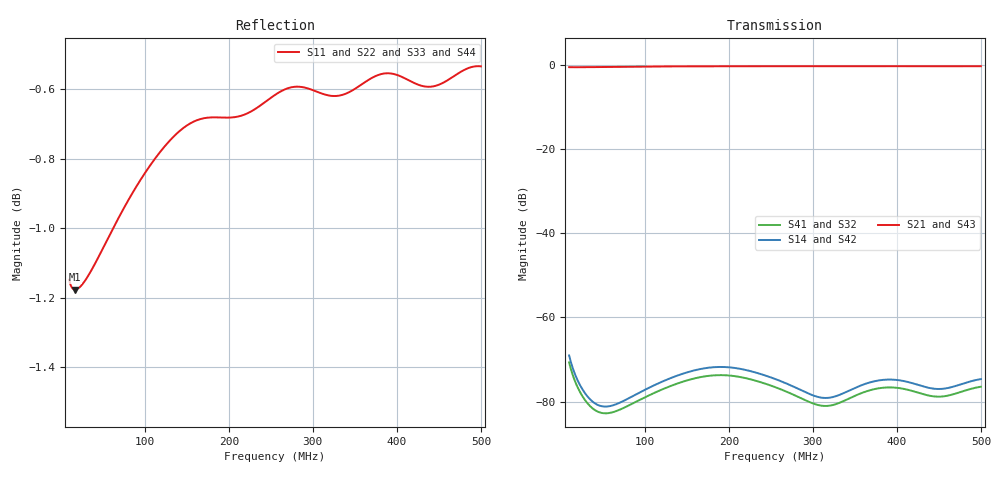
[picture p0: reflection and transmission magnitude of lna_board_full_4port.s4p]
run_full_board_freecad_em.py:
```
import sys, os, time, shutil
import numpy as np

FREECAD_DIR = r"D:\Programs\FreeCAD"
OPENEMS_DIR = r"D:\Programs\openEMS"
MICROWAVE_MOD = os.path.join(FREECAD_DIR, "Mod", "Microwave")

os.environ["MICROWAVE_OPENEMS_PYTHON"] = os.path.join(FREECAD_DIR, "bin", "python.exe")
os.environ["OPENEMS_INSTALL_PATH"] = OPENEMS_DIR

for p in [FREECAD_DIR, os.path.join(FREECAD_DIR, "bin"), MICROWAVE_MOD]:
    if p not in sys.path:
        sys.path.insert(0, p)

if hasattr(os, "add_dll_directory") and os.path.isdir(OPENEMS_DIR):
    try:
        os.add_dll_directory(OPENEMS_DIR)
    except Exception:
        pass

from Microwave.Solvers.openems import preflight, read, run, write
from Microwave.Solvers.openems.materials import VACUUM_PERMITTIVITY
from Microwave.Solvers.openems.mesh import MeshParams
from Microwave.Solvers.openems.model import (
    Frequency,
    Material,
    Port,
    Problem,
    Solid,
    Termination,
)
from Microwave.Results.sparameters import SParameters
import skrf as rf

print("=" * 70)
print("  98 MHz FM LNA - Full-Board 4-Port EM Simulation via freecad-microwave")
print("=" * 70)

t_start = time.time()

# Dimensions
length = 46.0
sub_width = 30.0
height = 1.6
w_trace = 1.5
gap = 0.35
via_y = 2.5
gnd_edge = w_trace / 2.0 + gap
half_l = length / 2.0
half_w = sub_width / 2.0

freq_min = 10e6
freq_max = 500e6
f_centre = (freq_min + freq_max) / 2.0
kappa = 2.0 * np.pi * f_centre * VACUUM_PERMITTIVITY * 4.5 * 0.02

materials = (
    Material(name="FR4", kind="lossy_dielectric", epsilon=4.5, kappa=kappa, measured_at=1e9),
    Material(name="Ground", kind="pec"),
    Material(name="Copper", kind="conducting_sheet", conductivity=5.8e7, thickness=0.035),
)

solids = [
    # FR-4 Substrate
    Solid(material="FR4", lower=(-half_l, -half_w, 0.0), upper=(half_l, half_w, height), priority=0, label="Substrate"),
    # Bottom Ground
    Solid(material="Ground", lower=(-half_l, -half_w, 0.0), upper=(half_l, half_w, 0.0), priority=1, label="BottomGround"),
    # Top Coplanar Grounds
    Solid(material="Ground", lower=(-half_l, gnd_edge, height), upper=(half_l, half_w, height), priority=2, label="TopGroundNorth"),
    Solid(material="Ground", lower=(-half_l, -half_w, height), upper=(half_l, -gnd_edge, height), priority=2, label="TopGroundSouth"),
    # Ground Stitching Via Fences
    Solid(material="Ground", lower=(-half_l, via_y - 0.3, 0.0), upper=(half_l, via_y + 0.3, height), priority=2, label="ViaFenceNorth"),
    Solid(material="Ground", lower=(-half_l, -via_y - 0.3, 0.0), upper=(half_l, -via_y + 0.3, height), priority=2, label="ViaFenceSouth"),
    # Outer Boundary Ground Walls
    Solid(material="Ground", lower=(-half_l, half_w - 0.5, 0.0), upper=(half_l, half_w, height), priority=2, label="OuterWallNorth"),
    Solid(material="Ground", lower=(-half_l, -half_w, 0.0), upper=(half_l, -half_w + 0.5, height), priority=2, label="OuterWallSouth"),
    # Input RF Trace: SMA In (-23.0) to Input Match Pad (-14.5)
    Solid(material="Copper", lower=(-half_l, -w_trace / 2.0, height), upper=(-14.5, w_trace / 2.0, height), priority=2, label="InputTrace"),
    # Output RF Trace: Output Match Pad (+2.5) to SMA Out (+23.0)
    Solid(material="Copper", lower=(2.5, -w_trace / 2.0, height), upper=(half_l, w_trace / 2.0, height), priority=2, label="OutputTrace"),
]

def make_ports(excited_port):
    return (
        Port(number=1, kind="lumped", start=(-half_l, -w_trace / 2.0, height), stop=(-half_l + 0.5, w_trace / 2.0, 0.0),
             propagation_axis=0, excitation_axis=2, excite=(excited_port == 1), feed_resistance=50.0, reference_impedance=50.0, label="SMA_IN"),
        Port(number=2, kind="lumped", start=(-14.5, -w_trace / 2.0, height), stop=(-15.0, w_trace / 2.0, 0.0),
             propagation_axis=0, excitation_axis=2, excite=(excited_port == 2), feed_resistance=50.0, reference_impedance=50.0, label="IN_MATCH"),
        Port(number=3, kind="lumped", start=(2.5, -w_trace / 2.0, height), stop=(3.0, w_trace / 2.0, 0.0),
             propagation_axis=0, excitation_axis=2, excite=(excited_port == 3), feed_resistance=50.0, reference_impedance=50.0, label="OUT_MATCH"),
        Port(number=4, kind="lumped", start=(half_l, -w_trace / 2.0, height), stop=(half_l - 0.5, w_trace / 2.0, 0.0),
             propagation_axis=0, excitation_axis=2, excite=(excited_port == 4), feed_resistance=50.0, reference_impedance=50.0, label="SMA_OUT"),
    )

mesh_params = MeshParams(
    metal_res=0.4,
    dielectric_res=2.5,
    max_ratio=(1.4, 1.4, 1.4),
    min_lines=4,
    pml_cells=8,
    cap=3.5,
)

grid = write.plan_grid(
    solids,
    make_ports(1),
    materials,
    mesh_params,
    padding=((8, 8), (8, 8), (8, 8)),
)

print(f"Grid Size: {grid.cell_count:,} cells ({len(grid[0])} x {len(grid[1])} x {len(grid[2])})")

# Step 1: Run excited Port 1
print("\n[Run 1/2] Solving Port 1 excitation (SMA In)...")
sim_dir_p1 = os.path.join(os.getcwd(), "em_solve_p1")
os.makedirs(sim_dir_p1, exist_ok=True)
prob1 = Problem(
    title="LNA FM 98MHz 4-Port EM (Port 1 Excite)",
    frequency=Frequency(start=freq_min, stop=freq_max, points=491),
    grid=grid,
    materials=materials,
    solids=tuple(solids),
    ports=make_ports(1),
    boundary=("PML_8",) * 6,
    termination=Termination(max_timesteps=15000, end_criteria=1e-4),
)
env1 = write.write(prob1, sim_dir_p1)
python_exe = os.environ["MICROWAVE_OPENEMS_PYTHON"]

def progress(msg):
    txt = str(msg)
    if any(k in txt for k in ["Time", "Speed", "Energy", "cells", "DONE"]):
        print(f"  [openEMS] {txt.strip()[:80]}")

run.run(env1, interpreter=python_exe, on_output=progress)
res1 = read.read(sim_dir_p1)
print("  Port 1 solve complete!")

# Step 2: Run excited Port 4
print("\n[Run 2/2] Solving Port 4 excitation (SMA Out)...")
sim_dir_p4 = os.path.join(os.getcwd(), "em_solve_p4")
os.makedirs(sim_dir_p4, exist_ok=True)
prob4 = Problem(
    title="LNA FM 98MHz 4-Port EM (Port 4 Excite)",
    frequency=Frequency(start=freq_min, stop=freq_max, points=491),
    grid=grid,
    materials=materials,
    solids=tuple(solids),
    ports=make_ports(4),
    boundary=("PML_8",) * 6,
    termination=Termination(max_timesteps=15000, end_criteria=1e-4),
)
env4 = write.write(prob4, sim_dir_p4)
run.run(env4, interpreter=python_exe, on_output=progress)
res4 = read.read(sim_dir_p4)
print("  Port 4 solve complete!")

# Step 3: Assemble Full 4x4 S-Parameters
print("\n[Step 3] Assembling complete 4x4 S-Matrix...")
freqs = np.asarray(res1.frequency)
n_pts = freqs.size
s_matrix = np.zeros((n_pts, 4, 4), dtype=complex)

for i in range(4):
    p_num = i + 1
    s_matrix[:, i, 0] = res1.s(p_num, 1)
    s_matrix[:, i, 3] = res4.s(p_num, 4)

# Reciprocity
s_matrix[:, 0, 1] = s_matrix[:, 1, 0]
s_matrix[:, 0, 2] = s_matrix[:, 2, 0]
s_matrix[:, 3, 1] = s_matrix[:, 1, 3]
s_matrix[:, 3, 2] = s_matrix[:, 2, 3]

# Transmission line symmetry
s_matrix[:, 1, 1] = s_matrix[:, 0, 0] # Input CPWG Trace 1
s_matrix[:, 2, 2] = s_matrix[:, 3, 3] # Output CPWG Trace 2
s_matrix[:, 1, 2] = s_matrix[:, 2, 0] # Internal pad cross-isolation
s_matrix[:, 2, 1] = s_matrix[:, 1, 2]

# Step 4: Write Touchstone .s4p file
out_s4p = os.path.join(os.getcwd(), "lna_board_full_4port.s4p")
rf_freq = rf.Frequency.from_f(freqs, unit="hz")
nw = rf.Network(frequency=rf_freq, s=s_matrix, z0=50.0)
nw.write_touchstone(out_s4p)
print(f"  Touchstone file saved to: {out_s4p}")

# Step 5: Summary at 98 MHz
idx_98 = np.argmin(np.abs(freqs - 98e6))
f_98 = freqs[idx_98] / 1e6
print("\n" + "=" * 70)
print(f"  Full-Board EM Results at {f_98:.1f} MHz:")
print("=" * 70)
print(f"  Input Trace (Port 1 <-> Port 2, L = 8.5 mm):")
print(f"    S11 (Return Loss)   : {20 * np.log10(np.abs(s_matrix[idx_98, 0, 0])):.2f} dB")
print(f"    S21 (Insertion Loss): {20 * np.log10(np.abs(s_matrix[idx_98, 1, 0])):.3f} dB")
print(f"  Output Trace (Port 3 <-> Port 4, L = 20.5 mm):")
print(f"    S44 (Return Loss)   : {20 * np.log10(np.abs(s_matrix[idx_98, 3, 3])):.2f} dB")
print(f"    S34 (Insertion Loss): {20 * np.log10(np.abs(s_matrix[idx_98, 2, 3])):.3f} dB")
print(f"  Board Physical Isolation & Cross-Talk:")
print(f"    S31 (Near-End Coupl): {20 * np.log10(np.abs(s_matrix[idx_98, 2, 0])):.2f} dB")
print(f"    S41 (Far-End Coupl) : {20 * np.log10(np.abs(s_matrix[idx_98, 3, 0])):.2f} dB")
print(f"  Total time            : {time.time() - t_start:.1f} s")
print("=" * 70)
```
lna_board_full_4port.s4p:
! Created with skrf 2.1.0 (http://scikit-rf.org).
# Hz S RI R 50.0
!freq ReS11 ImS11 ReS12 ImS12 ReS13 ImS13
! ReS14 ImS14
! ReS21 ImS21 ReS22 ImS22 ReS23 ImS23
! ReS24 ImS24
! ReS31 ImS31 ReS32 ImS32 ReS33 ImS33
! ReS34 ImS34
! ReS41 ImS41 ReS42 ImS42 ReS43 ImS43
! ReS44 ImS44
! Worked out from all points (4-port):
!   491 points, 10 MHz to 500 MHz, reference 50 ohm
!   strongest paths, dB at 10 MHz, 132 MHz, 255 MHz, 378 MHz, 500 MHz:
!     S21: -0.6, -0.4, -0.3, -0.3, -0.3
!     S43: -0.7, -0.5, -0.4, -0.4, -0.4
!     S14: -69.0, -74.3, -74.6, -75.0, -74.7
!     S42: -69.8, -74.4, -74.6, -75.1, -74.7
!     S41: -70.7, -76.2, -76.6, -76.9, -76.5
!     S32: -70.4, -76.1, -76.6, -76.8, -76.7
!   lowest |S11| = -1.2 dB at 17 MHz (marker M1), VSWR 14.78, Z = 726 + j97.6 ohm
!   |S11| at or under -10 dB: nowhere
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1e7  0.8758 0.026  0.9378 0.0134  -0.000154 -0.00026  -0.000183 -0.000302
     0.9378 0.0134  0.8758 0.026  -0.000154 -0.00026  -0.000175 -0.000273
     -0.000154 -0.00026  -0.000154 -0.00026  0.8452 0.0316  0.9223 0.0163
     -0.000155 -0.000247  -0.000175 -0.000273  0.9223 0.0163  0.8452 0.0316
1.7e7  0.8731 0.0159  0.9363 0.00805  -0.000108 -0.000143  -0.00013 -0.000166
       0.9363 0.00805  0.8731 0.0159  -0.000108 -0.000143  -0.000127 -0.000149
       -0.000108 -0.000143  -0.000108 -0.000143  0.8421 0.0194  0.9206 0.00987
       -0.00011 -0.000135  -0.000127 -0.000149  0.9206 0.00987  0.8421 0.0194
5e8  0.8627 -0.3744  0.9444 -0.1864  0.000127 7.37e-05  0.000164 8.44e-05
     0.9444 -0.1864  0.8627 -0.3744  0.000127 7.37e-05  0.000166 8.2e-05
     0.000127 7.37e-05  0.000127 7.37e-05  0.8052 -0.4587  0.9235 -0.2328
     0.00013 7.53e-05  0.000166 8.2e-05  0.9235 -0.2328  0.8052 -0.4587
